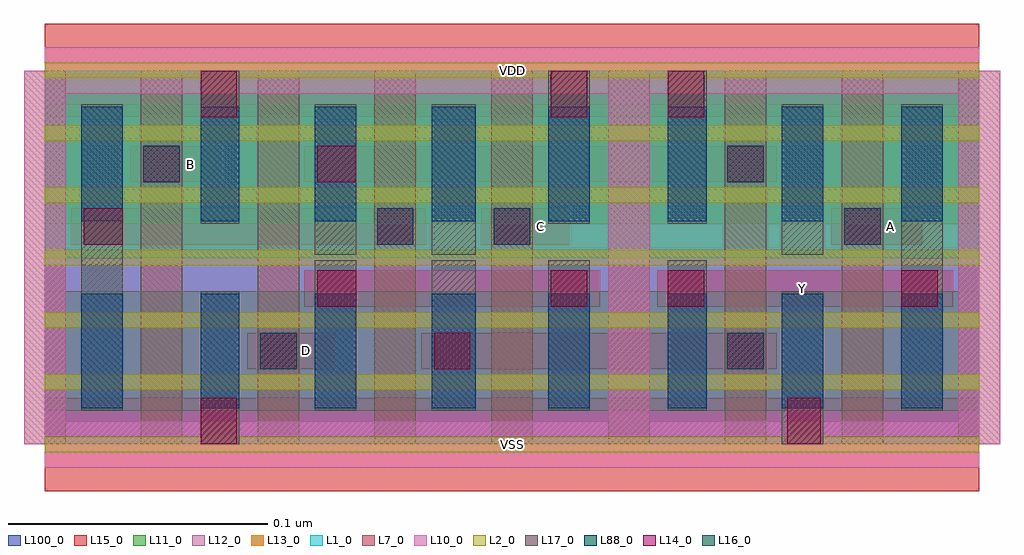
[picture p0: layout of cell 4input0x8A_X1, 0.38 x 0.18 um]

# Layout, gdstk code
import gdstk
lib = gdstk.Library(unit=1e-6, precision=1e-09)
def R(c, l, rs):  # rectangles x0, y0, x1, y1
    for r in rs: c.add(gdstk.rectangle(r[:2], r[2:], *l))
def A(c, l, x, y, w, h, nx, ny, dx, dy):  # array of equal rectangles
    R(c, l, [(x+i*dx, y+j*dy, x+i*dx+w, y+j*dy+h) for i in range(nx) for j in range(ny)])
def P(c, l, *ps):  # polygons
    for p in ps: c.add(gdstk.Polygon(p, *l))
L1_0 = (1, 0)
L2_0 = (2, 0)
L7_0 = (7, 0)
L10_0 = (10, 0)
L11_0 = (11, 0)
L12_0 = (12, 0)
L13_0 = (13, 0)
L14_0 = (14, 0)
L15_0 = (15, 0)
L16_0 = (16, 0)
L17_0 = (17, 0)
L88_0 = (88, 0)
L100_0 = (100, 0)

c_4input0x8a_x1 = lib.new_cell('4input0x8A_X1')
R(c_4input0x8a_x1, L1_0, [(0,0.072,0.36,0.144)])
A(c_4input0x8a_x1, L2_0, 0, -0.003, 0.36, 0.006, 1, 7, 0, 0.024)
A(c_4input0x8a_x1, L7_0, -0.008, 0, 0.016, 0.144, 9, 1, 0.045, 0)
P(c_4input0x8a_x1, L10_0, [(0,-0.009),(0,0),(-0.008,0),(-0.008,0.135),(0.008,0.135),(0.008,0.009),(0.217,0.009),(0.217,0.135),(0.233,0.135),(0.233,0.009),(0.352,0.009),(0.352,0.135),(-0.008,0.135),(-0.008,0.144),(0,0.144),(0,0.153),(0.36,0.153),(0.36,0.144),(0.368,0.144),(0.368,0),(0.36,0),(0.36,-0.009)])
R(c_4input0x8a_x1, L11_0, [(0,0.013,0.36,0.059), (0,0.085,0.36,0.131)])
R(c_4input0x8a_x1, L12_0, [(0,0,0.36,0.072)])
R(c_4input0x8a_x1, L13_0, [(0,0.072,0.36,0.144)])
R(c_4input0x8a_x1, L14_0, [(0.06,0,0.074,0.018), (0.286,0,0.299,0.018), (0.083,0.029,0.097,0.043), (0.15,0.029,0.164,0.043), (0.263,0.029,0.277,0.043), (0.105,0.053,0.12,0.067), (0.195,0.053,0.209,0.067), (0.24,0.053,0.254,0.067), (0.33,0.053,0.344,0.067), (0.015,0.077,0.03,0.091), (0.128,0.077,0.142,0.091), (0.173,0.077,0.187,0.091), (0.308,0.077,0.322,0.091), (0.038,0.101,0.052,0.115), (0.105,0.101,0.12,0.115), (0.263,0.101,0.277,0.115), (0.06,0.126,0.074,0.144), (0.195,0.126,0.209,0.144), (0.24,0.126,0.254,0.144)])
R(c_4input0x8a_x1, L15_0, [(0,-0.018,0.36,0.018), (0.078,0.029,0.112,0.043), (0.145,0.029,0.282,0.043), (0.1,0.053,0.214,0.067), (0.236,0.053,0.35,0.067), (0.01,0.077,0.147,0.091), (0.168,0.077,0.202,0.091), (0.303,0.077,0.338,0.091), (0.033,0.101,0.068,0.115), (0.1,0.101,0.282,0.115), (0,0.126,0.36,0.162)])
R(c_4input0x8a_x1, L16_0, [(0.083,0.029,0.097,0.043), (0.263,0.029,0.277,0.043), (0.128,0.077,0.142,0.091), (0.173,0.077,0.187,0.091), (0.308,0.077,0.322,0.091), (0.038,0.101,0.052,0.115), (0.263,0.101,0.277,0.115)])
R(c_4input0x8a_x1, L17_0, [(0.06,0,0.075,0.059), (0.284,0,0.3,0.059), (0.014,0.013,0.03,0.131), (0.104,0.013,0.12,0.071), (0.149,0.013,0.166,0.071), (0.194,0.013,0.21,0.071), (0.24,0.013,0.255,0.071), (0.33,0.013,0.346,0.131), (0.104,0.073,0.12,0.131), (0.149,0.073,0.166,0.131), (0.284,0.073,0.3,0.131), (0.06,0.085,0.075,0.144), (0.194,0.085,0.21,0.144), (0.24,0.085,0.255,0.144)])
A(c_4input0x8a_x1, L88_0, 0.014, 0.014, 0.016, 0.044, 4, 2, 0.09, 0.072)
R(c_4input0x8a_x1, L88_0, [(0.06,0.014,0.075,0.058), (0.149,0.014,0.166,0.058), (0.24,0.014,0.255,0.058), (0.33,0.014,0.346,0.058), (0.06,0.086,0.075,0.13), (0.149,0.086,0.166,0.13), (0.24,0.086,0.255,0.13), (0.33,0.086,0.346,0.13)])
R(c_4input0x8a_x1, L100_0, [(0,0,0.36,0.144)])
c_4input0x8a_x1.add(gdstk.Label('B', (0.056,0.108), layer=15, texttype=251))
c_4input0x8a_x1.add(gdstk.Label('VSS', (0.18,0), layer=15, texttype=251))
c_4input0x8a_x1.add(gdstk.Label('VDD', (0.18,0.144), layer=15, texttype=251))
c_4input0x8a_x1.add(gdstk.Label('A', (0.326,0.084), layer=15, texttype=251))
c_4input0x8a_x1.add(gdstk.Label('VSS', (0.18,0), layer=15, texttype=251))
c_4input0x8a_x1.add(gdstk.Label('VDD', (0.18,0.144), layer=15, texttype=251))
c_4input0x8a_x1.add(gdstk.Label('Y', (0.292,0.06), layer=15, texttype=251))
c_4input0x8a_x1.add(gdstk.Label('VSS', (0.18,0), layer=15, texttype=251))
c_4input0x8a_x1.add(gdstk.Label('VDD', (0.18,0.144), layer=15, texttype=251))
c_4input0x8a_x1.add(gdstk.Label('C', (0.191,0.084), layer=15, texttype=251))
c_4input0x8a_x1.add(gdstk.Label('VSS', (0.18,0), layer=15, texttype=251))
c_4input0x8a_x1.add(gdstk.Label('VDD', (0.18,0.144), layer=15, texttype=251))
c_4input0x8a_x1.add(gdstk.Label('D', (0.101,0.036), layer=15, texttype=251))
c_4input0x8a_x1.add(gdstk.Label('VSS', (0.18,0), layer=15, texttype=251))
c_4input0x8a_x1.add(gdstk.Label('VDD', (0.18,0.144), layer=15, texttype=251))
c_4input0x8a_x1.add(gdstk.Label('VSS', (0.18,0), layer=3, texttype=251))
c_4input0x8a_x1.add(gdstk.Label('VSS', (0.18,0), layer=3, texttype=251))
c_4input0x8a_x1.add(gdstk.Label('VSS', (0.18,0), layer=3, texttype=251))
c_4input0x8a_x1.add(gdstk.Label('VSS', (0.18,0), layer=3, texttype=251))
c_4input0x8a_x1.add(gdstk.Label('VSS', (0.18,0), layer=3, texttype=251))
c_4input0x8a_x1.add(gdstk.Label('VDD', (0.18,0.144), layer=1, texttype=251))
c_4input0x8a_x1.add(gdstk.Label('VDD', (0.18,0.144), layer=1, texttype=251))
c_4input0x8a_x1.add(gdstk.Label('VDD', (0.18,0.144), layer=1, texttype=251))
c_4input0x8a_x1.add(gdstk.Label('VDD', (0.18,0.144), layer=1, texttype=251))
c_4input0x8a_x1.add(gdstk.Label('VDD', (0.18,0.144), layer=1, texttype=251))

lib.write_gds('4input0x8A_X1.gds')
